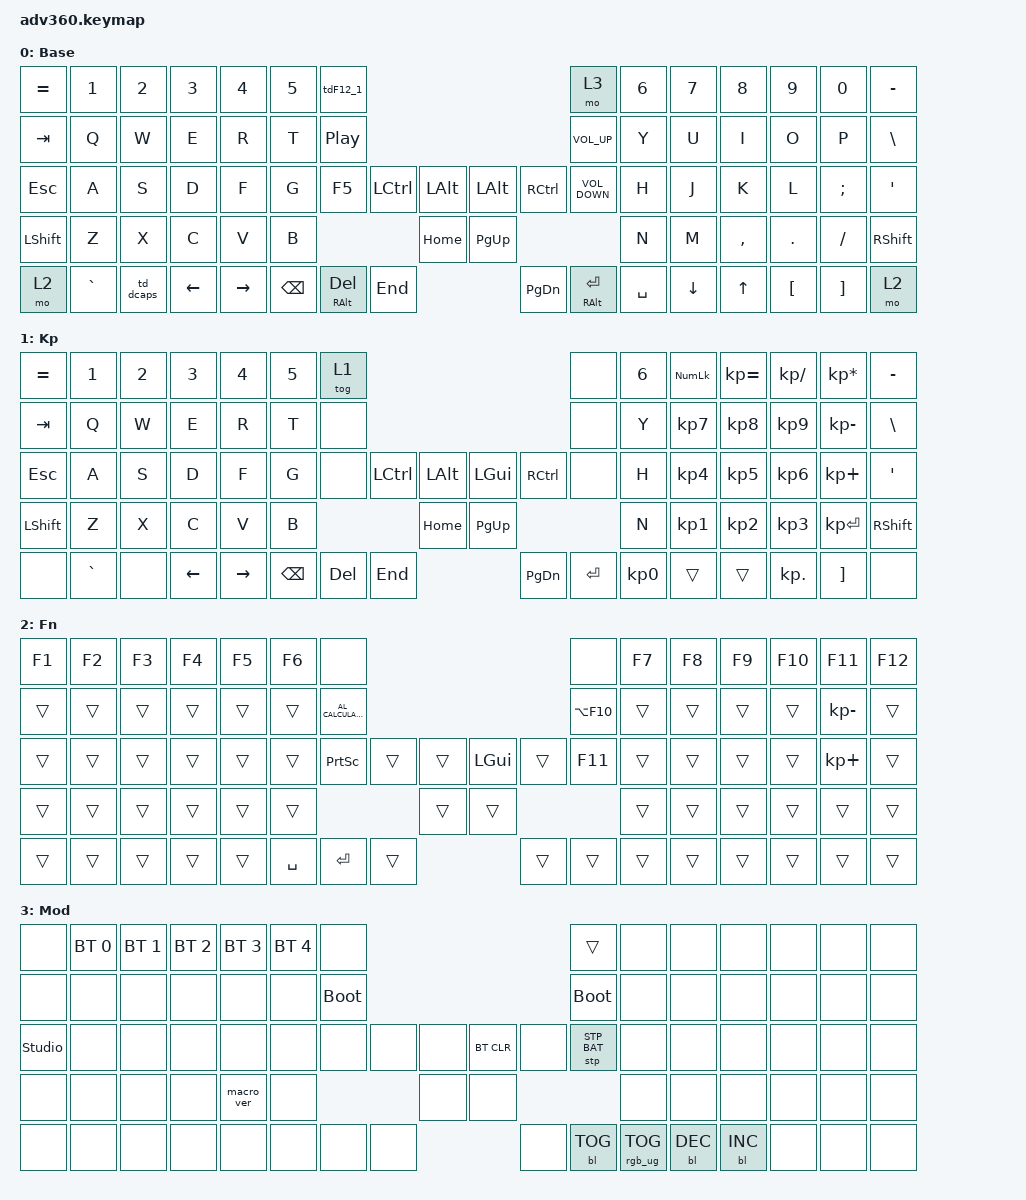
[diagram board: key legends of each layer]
#include <behaviors.dtsi>
#include <dt-bindings/zmk/keys.h>
#include <dt-bindings/zmk/bt.h>
#include <dt-bindings/zmk/rgb.h>
#include <dt-bindings/zmk/stp.h>
#include <dt-bindings/zmk/backlight.h>
#include <dt-bindings/zmk/pointing.h>

/ {
    behaviors {
      #include "macros.dtsi"
      #include "version.dtsi"

      hm: homerow_mods {
          compatible = "zmk,behavior-hold-tap";
          label = "HOMEROW_MODS";
          #binding-cells = <2>;
          tapping-term-ms = <200>;
          quick_tap_ms = <175>;
          flavor = "tap-preferred";
          bindings = <&kp>, <&kp>;
      };

      tdF12_1: tap_dance_f12_toggle1 {
        compatible = "zmk,behavior-tap-dance";
        #binding-cells = <0>;
        tapping-term-ms = <200>;
        bindings = <&kp F12>, <&tog 1>;
      };

      td_dcaps: double_tap_caps {
        compatible = "zmk,behavior-tap-dance";
        #binding-cells = <0>;
        tapping-term-ms = <200>;
        bindings = <&none>, <&kp CAPS>;
      };
    };

  keymap {
    compatible = "zmk,keymap";

    default_layer {
      display-name = "Base";
      bindings = <
        &kp EQUAL &kp N1    &kp N2   &kp N3   &kp N4     &kp N5 &tdF12_1                                                                   &mo 3             &kp N6 &kp N7   &kp N8    &kp N9   &kp N0   &kp MINUS
        &kp TAB   &kp Q     &kp W    &kp E    &kp R      &kp T  &kp C_PLAY_PAUSE                                                           &kp C_VOLUME_UP   &kp Y  &kp U    &kp I     &kp O    &kp P    &kp BSLH
        &kp ESC   &kp A     &kp S    &kp D    &kp F      &kp G  &kp F5                    &kp LCTRL &kp LALT &kp LALT  &kp RCTRL           &kp C_VOLUME_DOWN &kp H  &kp J    &kp K     &kp L    &kp SEMI &kp SQT
        &kp LSHFT &kp Z     &kp X    &kp C    &kp V      &kp B                                      &kp HOME &kp PG_UP                                       &kp N  &kp M    &kp COMMA &kp DOT  &kp FSLH &kp RSHFT
        &mo 2     &kp GRAVE &td_dcaps &kp LEFT &kp RIGHT                    &kp BSPC &mt RALT DEL   &kp END  &kp PG_DN &mt RALT ENTER &kp SPACE                     &kp DOWN &kp UP    &kp LBKT &kp RBKT &mo 2
      >;
    };
    keypad {
      display-name = "Kp";
      bindings = <
        &kp EQUAL &kp N1    &kp N2   &kp N3   &kp N4     &kp N5 &tog 1                                                           &none &kp N6 &kp KP_NUM &kp KP_EQUAL &kp KP_DIVIDE &kp KP_MULTIPLY &kp MINUS
        &kp TAB   &kp Q     &kp W    &kp E    &kp R      &kp T  &none                                                            &none &kp Y  &kp KP_N7  &kp KP_N8    &kp KP_N9     &kp KP_MINUS    &kp BSLH
        &kp ESC   &kp A     &kp S    &kp D    &kp F      &kp G  &none           &kp LCTRL &kp LALT &kp LGUI  &kp RCTRL           &none &kp H  &kp KP_N4  &kp KP_N5    &kp KP_N6     &kp KP_PLUS     &kp SQT
        &kp LSHFT &kp Z     &kp X    &kp C    &kp V      &kp B                            &kp HOME &kp PG_UP                           &kp N  &kp KP_N1  &kp KP_N2    &kp KP_N3     &kp KP_ENTER    &kp RSHFT
        &none     &kp GRAVE &none &kp LEFT &kp RIGHT                &kp BSPC &kp DEL   &kp END  &kp PG_DN &kp ENTER &kp KP_N0              &trans     &trans       &kp KP_DOT    &kp RBKT        &none
      >;
    };
    fn {
      display-name = "Fn";
      bindings = <
        &kp F1 &kp F2 &kp F3 &kp F4 &kp F5 &kp F6 &none                                                          &none       &kp F7 &kp F8 &kp F9 &kp F10 &kp F11      &kp F12
        &trans &trans &trans &trans &trans &trans &kp C_AL_CALCULATOR                                            &kp LA(F10) &trans &trans &trans &trans  &kp KP_MINUS &trans
        &trans &trans &trans &trans &trans &trans &kp PRINTSCREEN             &trans &trans &kp LGUI &trans      &kp F11     &trans &trans &trans &trans  &kp KP_PLUS  &trans
        &trans &trans &trans &trans &trans &trans                                    &trans &trans                           &trans &trans &trans &trans  &trans       &trans
        &trans &trans &trans &trans &trans                             &kp SPACE &kp ENTER &trans &trans   &trans &trans                  &trans &trans &trans  &trans       &trans
      >;
    };
    mod {
      display-name = "Mod";
      bindings = <
        &none &bt BT_SEL 0 &bt BT_SEL 1 &bt BT_SEL 2 &bt BT_SEL 3 &bt BT_SEL 4 &none                                                                     &trans                 &none        &none        &none        &none &none &none
        &none &none        &none        &none        &none        &none        &bootloader                                                               &bootloader            &none        &none        &none        &none &none &none
        &studio_unlock &none        &none        &none        &none        &none        &none                   &none &none &bt BT_CLR &none                      &stp STP_BAT &none        &none        &none        &none &none &none
        &none &none        &none        &none        &macro_ver   &none                                      &none &none                                                        &none        &none        &none        &none &none &none
        &none &none        &none        &none        &none                                       &none &none &none &none      &bl BL_TOG &rgb_ug RGB_TOG                                     &bl BL_DEC   &bl BL_INC   &none &none &none
      >;
    };
    extra1 { 
      display-name = "Red";    
      status = "reserved";
    };

    extra2 { 
      display-name = "Purple";    
      status = "reserved";
    };

    extra3 { 
      display-name = "Cyan";    
      status = "reserved";
    };

    extra4 { 
      display-name = "Yellow";    
      status = "reserved";
    };
  };
};
